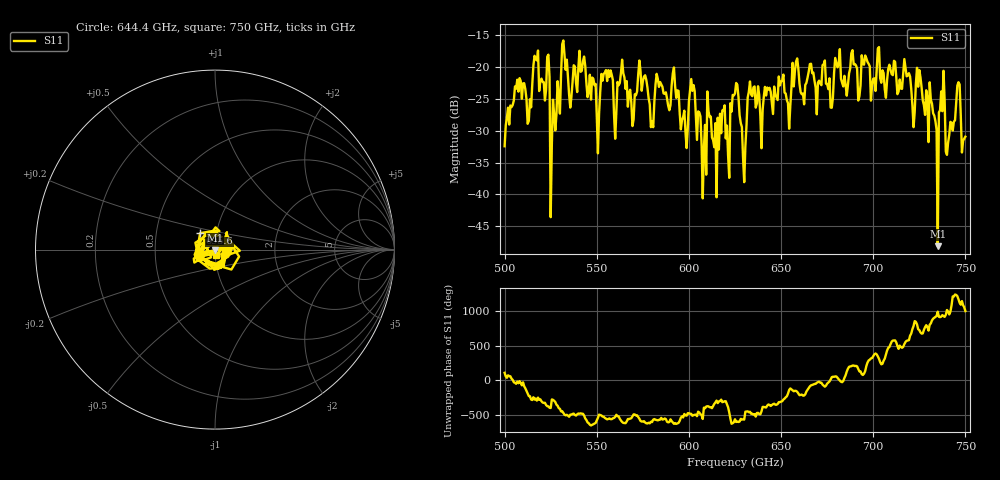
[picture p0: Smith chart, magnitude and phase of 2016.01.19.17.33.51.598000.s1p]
!Created with skrf (http://scikit-rf.org).
# GHz S RI R 50.0
!freq ReS11 ImS11
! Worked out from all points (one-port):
!   401 points, 500 GHz to 750 GHz, reference 50 ohm
!   lowest |S11| = -48.2 dB at 735 GHz (marker M1), VSWR 1.01, Z = 50 - j0.391 ohm
!   |S11| at or under -10 dB: start of sweep to end of sweep
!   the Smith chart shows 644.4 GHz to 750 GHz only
!   S11 on the Smith chart (normalised r, x): 644.4 GHz: 1.13, -0.03; 695.6 GHz: 0.83, +0.15; 750 GHz: 1.01, -0.06
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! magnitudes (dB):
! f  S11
! 500 GHz  -32.4
! 506.9 GHz  -22.0
! 513.1 GHz  -28.5
! 516.9 GHz  -18.7
! 523.1 GHz  -18.4
! 526.2 GHz  -25.1
! 531.2 GHz  -16.4
! 550.6 GHz  -33.6
! 562.5 GHz  -22.5
! 593.8 GHz  -23.7
! 598.1 GHz  -30.2
! 601.9 GHz  -23.7
! 608.1 GHz  -32.7
! 611.2 GHz  -27.9
! 621.2 GHz  -33.9
! 625 GHz  -24.1
! 630 GHz  -38.1
! 633.1 GHz  -22.3
! 644.4 GHz  -23.9
! 656.2 GHz  -19.3
! 687.5 GHz  -20.2
! 695.6 GHz  -18.2
! 718.8 GHz  -21.3
! 735 GHz  -48.2
! 737.5 GHz  -26.9
! 740.6 GHz  -31.9
! 746.2 GHz  -22.4
! 750 GHz  -30.9
